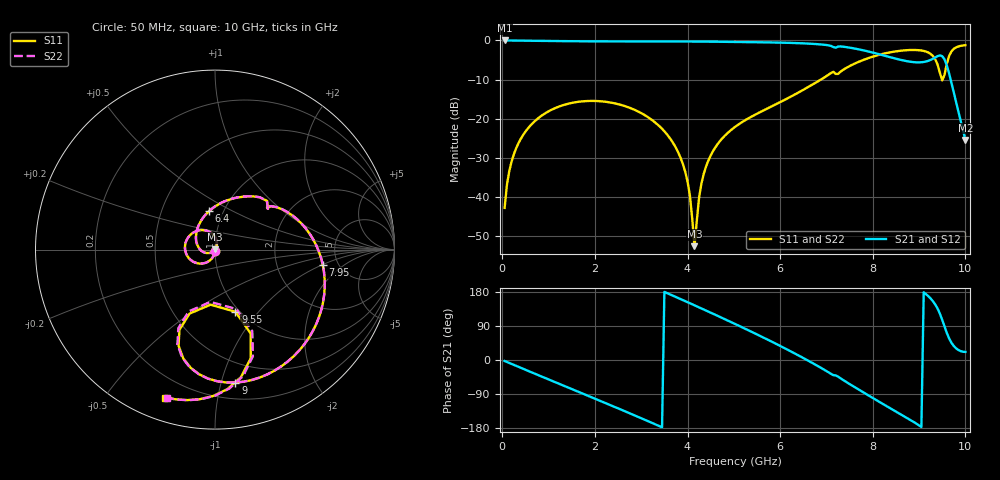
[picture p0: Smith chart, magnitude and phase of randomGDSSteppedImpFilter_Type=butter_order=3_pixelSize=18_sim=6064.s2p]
! freq	dB(S11)	phase(S11)	dB(S12)	phase(S12)
!  dB(S21)	phase(S21)	dB(S22)	phase(S22)
!S-par simulation data
#  GHz  S  DB  R 50
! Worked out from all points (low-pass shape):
!   200 points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, 50 MHz to 10 GHz, reference 50 ohm
!   highest |S21| = -0.01 dB at 50 MHz (marker M1); lowest = -25.4 dB at 10 GHz (marker M2)
!   |S21| within 3 dB of the highest: start of sweep to 7.967 GHz
!   lowest |S11| = -52.6 dB at 4.15 GHz (marker M3), VSWR 1.00, Z = 49.8 + j0.0686 ohm
!   |S11| at or under -10 dB: start of sweep to 6.882 GHz; 9.493862 GHz to 9.507995 GHz (14.13 MHz wide, 0.149 % of centre)
!   |S22| runs from -52.9 to -1.2 dB; largest |S21 - S12| = 0
!   S11 on the Smith chart (normalised r, x): 50 MHz: 1.00, -0.01; 6.4 GHz: 0.86, +0.38; 7.95 GHz: 3.78, -1.03; 9 GHz: 0.33, -1.11; 9.55 GHz: 0.96, -0.77; 10 GHz: 0.11, -0.71
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0.05  -42.85 -90.8  -0.01 -2.6  -0.01 -2.6  -42.85 -90.8
0.2  -31.01 -100.1  -0.02 -10.4  -0.02 -10.4  -31.01 -100.1
0.5  -23.32 -116.2  -0.06 -25.8  -0.06 -25.8  -23.32 -116.2
1.75  -15.56 179.8  -0.23 -89.3  -0.23 -89.3  -15.56 179.7
2.5  -16.30 141.5  -0.25 -127.6  -0.25 -127.6  -16.30 141.4
3.4  -22.03 94.4  -0.25 -174.9  -0.25 -174.9  -22.03 94.0
3.95  -33.58 65.9  -0.27 155.3  -0.27 155.3  -33.58 63.5
4.15  -52.63 162.8  -0.28 144.4  -0.28 144.4  -52.92 -62.9
4.25  -40.12 -136.2  -0.29 138.8  -0.29 138.8  -40.13 -130.5
4.4  -32.24 -142.4  -0.31 130.5  -0.31 130.5  -32.25 -140.0
5.05  -21.91 -178.6  -0.39 93.8  -0.39 93.8  -21.91 -177.7
5.7  -17.56 142.7  -0.49 55.6  -0.49 55.6  -17.56 143.4
6.4  -13.29 98.8  -0.70 11.8  -0.70 11.8  -13.30 99.2
6.7  -11.28 79.0  -0.87 -8.1  -0.87 -8.1  -11.28 79.3
7.4  -7.22 31.1  -1.66 -55.9  -1.66 -55.9  -7.22 31.3
7.95  -4.34 -8.2  -2.96 -96.6  -2.96 -96.6  -4.34 -8.1
8.35  -3.10 -36.2  -4.21 -125.4  -4.21 -125.4  -3.10 -36.2
9  -2.50 -81.3  -5.61 -172.6  -5.61 -172.6  -2.51 -81.5
9.35  -4.84 -110.8  -4.34 146.3  -4.34 146.3  -4.90 -111.6
9.55  -8.76 -71.8  -4.86 88.1  -4.86 88.1  -9.08 -70.3
9.75  -2.15 -85.0  -13.34 36.9  -13.34 36.9  -2.18 -84.1
10  -1.22 -108.5  -25.43 21.4  -25.43 21.4  -1.22 -108.0
